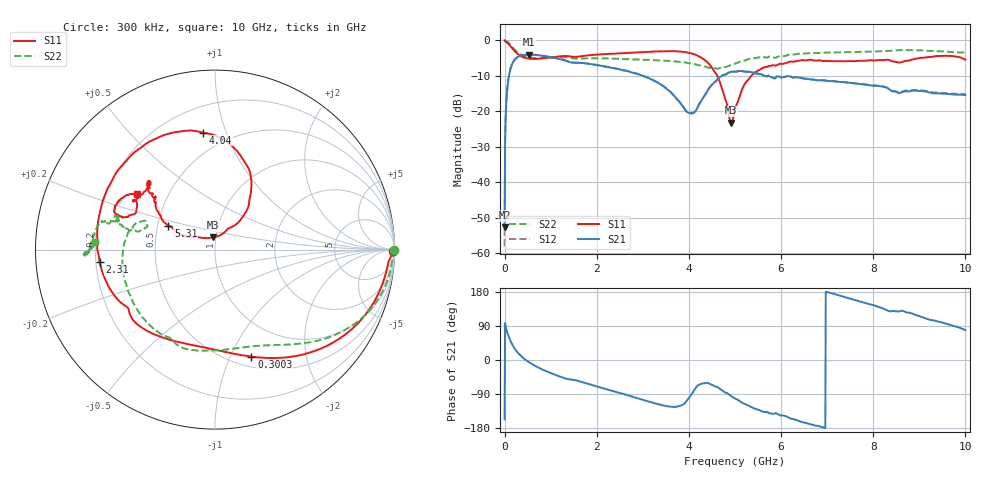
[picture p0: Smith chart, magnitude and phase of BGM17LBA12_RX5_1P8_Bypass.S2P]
!Agilent Technologies,E5071C,MY46316587,B.13.01
!Date: Fri Dec 08 11:11:40 2017
!Data & Calibration Information:
!Freq	S11:SOLT2(ON)	S21:SOLT2(ON)	S12:SOLT2(ON)	S22:SOLT2(ON)
!PortZ  Port1:50+j0  Port2:50+j0
!Above PortZ is port z conversion or system Z0 setting when saving the data.
!When reading, reference impedance value at option line is always used.
# Hz S dB R 50
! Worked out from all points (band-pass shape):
!   1001 points, 300 kHz to 10 GHz, reference 50 ohm
!   highest |S21| = -4.02 dB at 530.3 MHz (marker M1); lowest = -52.6 dB at 300 kHz (marker M2)
!   |S21| within 3 dB of the highest: 152.8 MHz to 2.017 GHz (1.864 GHz wide, 172 % of centre)
!   lowest |S11| = -23.2 dB at 4.92 GHz (marker M3), VSWR 1.15, Z = 48.3 + j6.59 ohm
!   |S11| at or under -10 dB: 4.616 GHz to 5.355 GHz (738.5 MHz wide, 14.8 % of centre)
!   |S22| runs from -8.0 to 0.0 dB; largest |S21 - S12| = 0.0057
!   S11 on the Smith chart (normalised r, x): 300 kHz: open; 300.3 MHz: 0.61, -1.20; 2.31 GHz: 0.22, -0.05; 4.04 GHz: 0.37, +0.84; 5.31 GHz: 0.57, +0.17; 10 GHz: 0.33, +0.29
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300000  -0.05 -0.4  -52.65 -156.6  -57.94 27.1  -0.04 -0.1
6.02982e7  -0.69 -21.0  -13.34 71.5  -13.25 71.5  -0.41 -16.0
8.02976e7  -0.94 -27.1  -11.12 64.6  -11.07 64.5  -0.64 -20.8
1.602952e8  -2.19 -47.8  -6.77 42.3  -6.74 42.1  -1.80 -36.3
3.00291e8  -4.02 -71.2  -4.59 17.5  -4.58 17.4  -3.56 -52.8
5.302841e8  -5.18 -93.9  -4.02 -6.0  -4.01 -6.1  -4.79 -69.7
1.030269e9  -4.77 -124.0  -4.81 -35.9  -4.78 -36.0  -4.94 -95.9
1.67025e9  -4.46 -149.7  -6.37 -57.9  -6.33 -57.9  -5.13 -118.4
2.310231e9  -3.79 -173.8  -7.70 -80.7  -7.70 -80.5  -5.15 -136.1
3.3402e9  -3.12 138.5  -12.06 -116.8  -12.05 -116.4  -5.65 -170.0
4.040179e9  -3.67 95.7  -20.59 -93.6  -20.43 -93.4  -6.49 163.9
4.370169e9  -5.82 70.7  -15.04 -60.6  -14.95 -60.4  -7.46 157.7
4.580163e9  -9.29 55.8  -11.57 -70.1  -11.57 -69.9  -7.87 160.0
4.920152e9  -23.22 100.6  -8.87 -95.6  -8.89 -95.7  -6.88 166.8
5.00015e9  -19.48 141.0  -8.84 -101.7  -8.81 -101.6  -6.58 166.7
5.170145e9  -13.30 155.7  -8.71 -113.7  -8.68 -113.6  -5.71 165.9
5.310141e9  -10.70 152.9  -8.85 -121.5  -8.82 -121.3  -5.24 165.2
5.640131e9  -7.62 142.3  -10.06 -136.9  -10.04 -136.7  -4.80 161.2
6.6701e9  -5.53 133.6  -11.07 -170.4  -11.03 -170.3  -3.60 167.3
8.34005e9  -5.50 148.5  -13.70 129.0  -13.63 129.2  -3.02 -178.7
9.400018e9  -4.41 159.0  -14.95 101.8  -14.73 102.0  -3.06 -179.7
1e10  -5.47 144.4  -15.41 78.8  -15.19 79.3  -3.50 176.3
